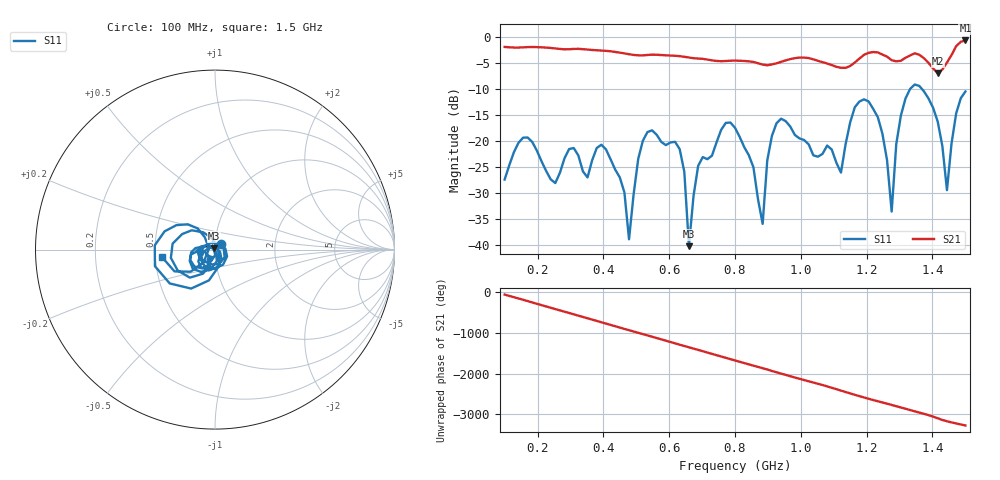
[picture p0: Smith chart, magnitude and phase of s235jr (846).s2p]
! NanoVNA-App
! Date: 2025-09-25 15:10:45
! Start: 100MHz Stop: 1,5GHz Points: 101
! S-Parameter data: F S11 S21 S12 S22
# Hz S RI R 50
!  Frequency  S11_Real  S11_Imag  S21_Real  S21_Imag  S12_Real  S12_Imag  S22_Real  S22_Imag
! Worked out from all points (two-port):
!   101 points, 100 MHz to 1.5 GHz, reference 50 ohm
!   highest |S21| = -0.72 dB at 1.5 GHz (marker M1); lowest = -7.0 dB at 1.416 GHz (marker M2)
!   |S21| within 3 dB of the highest: start of sweep to 628.6 MHz; 1.187 GHz to 1.258 GHz (70.45 MHz wide, 5.76 % of centre) (the widest 2 of 4)
!   lowest |S11| = -40.3 dB at 660 MHz (marker M3), VSWR 1.02, Z = 49.3 + j0.618 ohm
!   |S11| at or under -10 dB: start of sweep to 1.333 GHz; 1.367 GHz to end of sweep
!   S12 and S22 are empty: the file has one direction only
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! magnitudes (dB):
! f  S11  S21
! 100 MHz  -27.5  -2.0
! 156 MHz  -19.4  -2.0
! 338 MHz  -25.9  -2.4
! 408 MHz  -21.7  -2.7
! 478 MHz  -38.9  -3.4
! 520 MHz  -20.0  -3.6
! 576 MHz  -20.2  -3.5
! 632 MHz  -21.6  -3.7
! 660 MHz  -40.3  -4.0
! 688 MHz  -24.8  -4.2
! 800 MHz  -17.5  -4.6
! 884 MHz  -36.0  -5.4
! 926 MHz  -16.7  -5.1
! 1.038 GHz  -22.8  -4.4
! 1.122 GHz  -26.1  -6.0
! 1.206 GHz  -12.4  -3.1
! 1.276 GHz  -33.6  -4.5
! 1.29 GHz  -20.6  -4.7
! 1.332 GHz  -10.0  -3.6
! 1.416 GHz  -16.3  -7.0
! 1.444 GHz  -29.5  -5.0
! 1.5 GHz  -10.5  -0.7
